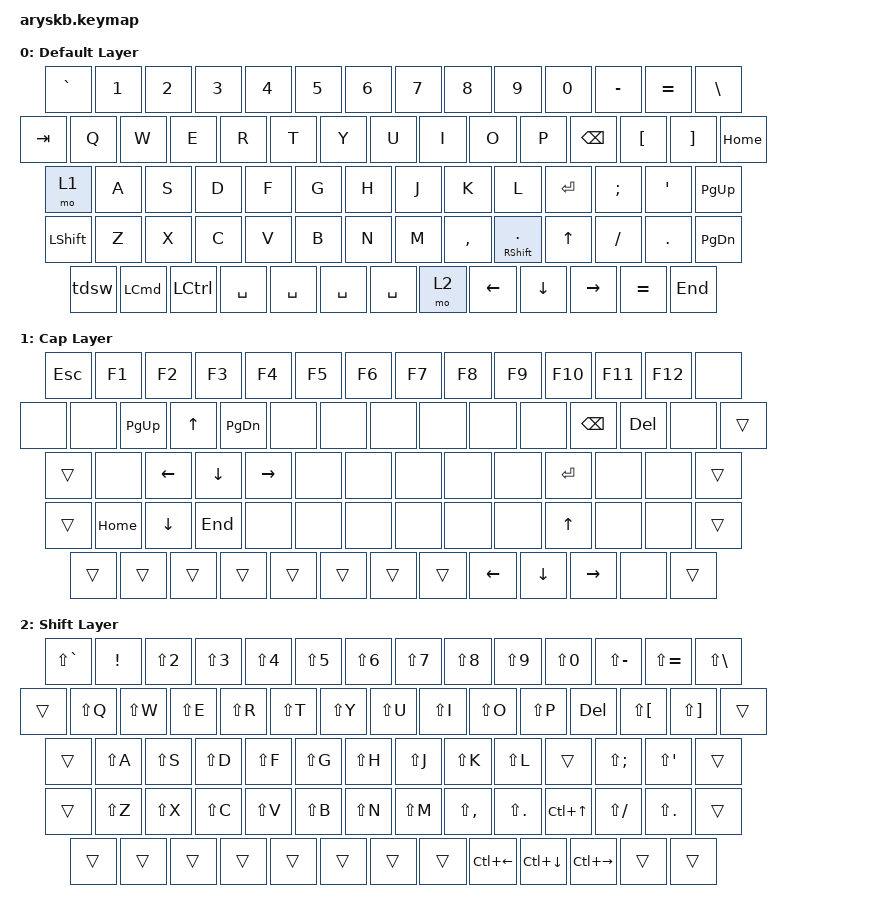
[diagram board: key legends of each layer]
/*
 * Copyright (c) 2021 The ZMK Contributors
 *
 * SPDX-License-Identifier: MIT
 */

#include <behaviors.dtsi>
#include <dt-bindings/zmk/keys.h>
#include <dt-bindings/zmk/bt.h>
#include <dt-bindings/zmk/rgb.h>
#include <dt-bindings/zmk/outputs.h>
#include <dt-bindings/zmk/rgb.h>



/ {
        keymap {
                compatible = "zmk,keymap";

                default_layer {
                        display-name = "Default Layer";
                        bindings = <


&kp GRAVE           &kp N1          &kp N2          &kp N3          &kp N4              &kp N5          &kp N6              &kp N7          &kp N8              &kp N9          &kp N0            &kp MINUS       &kp EQUAL       &kp BSLH        
&kp TAB         &kp Q           &kp W           &kp E           &kp R           &kp T           &kp Y           &kp U           &kp I           &kp O           &kp P           &kp BSPC            &kp LBKT        &kp RBKT        &kp HOME        
&mo 1               &kp A           &kp S           &kp D           &kp F           &kp G           &kp H           &kp J           &kp K           &kp L                   &kp RET                 &kp SEMI        &kp SQT         &kp PAGE_UP     
&kp LSHFT                   &kp Z           &kp X           &kp C           &kp V           &kp B           &kp N           &kp M           &kp COMMA       &mt RSHFT DOT       &kp UP              &kp FSLH        &kp DOT         &kp PAGE_DOWN   
&tdsw               &kp LCMD            &kp LCTRL           &kp SPACE            &kp SPACE        &kp SPACE        &kp SPACE               &mo 2               &kp LEFT        &kp DOWN        &kp RIGHT           &kp EQUAL       &kp END         

                        
                        >;
                };


                cap_layer {
                        display-name = "Cap Layer";
                        bindings = <

&kp ESC             &kp F1          &kp F2          &kp F3          &kp F4              &kp F5          &kp F6              &kp F7          &kp F8              &kp F9          &kp F10             &kp F11         &kp F12         &none           
&none           &none           &kp PAGE_UP     &kp UP          &kp PAGE_DOWN   &none           &none          &none        &none          &none           &none           &kp BSPC                 &kp DEL         &none           &trans          
&trans              &none           &kp LEFT        &kp DOWN        &kp RIGHT       &none           &none           &none           &none           &none                   &kp RET                 &none           &none           &trans          
&trans                      &kp HOME        &kp DOWN        &kp END         &none           &none           &none           &none           &none           &none               &kp UP              &none           &none           &trans     
&trans              &trans              &trans              &trans                  &trans          &trans              &trans              &trans              &kp LEFT        &kp DOWN        &kp RIGHT           &none           &trans          


                        >;
                };


                shift_layer {
                        display-name = "Shift Layer";
                        bindings = <


&kp LS(GRAVE)       &kp EXCL        &kp LS(N2)      &kp LS(N3)      &kp LS(N4)          &kp LS(N5)      &kp LS(N6)          &kp LS(N7)      &kp LS(N8)          &kp LS(N9)      &kp LS(N0)          &kp LS(MINUS)   &kp LS(EQUAL)   &kp LS(BSLH)    
&trans          &kp LS(Q)       &kp LS(W)       &kp LS(E)       &kp LS(R)       &kp LS(T)       &kp LS(Y)       &kp LS(U)       &kp LS(I)       &kp LS(O)       &kp LS(P)       &kp DEL             &kp LS(LBKT)    &kp LS(RBKT)    &trans          
&trans              &kp LS(A)       &kp LS(S)       &kp LS(D)       &kp LS(F)       &kp LS(G)       &kp LS(H)       &kp LS(J)       &kp LS(K)       &kp LS(L)               &trans                  &kp LS(SEMI)    &kp LS(SQT)     &trans          
&trans                      &kp LS(Z)       &kp LS(X)       &kp LS(C)       &kp LS(V)       &kp LS(B)       &kp LS(N)       &kp LS(M)       &kp LS(COMMA)   &kp LS(DOT)         &kp LC(UP)          &kp LS(FSLH)    &kp LS(DOT)     &trans          
&trans              &trans              &trans              &trans                  &trans          &trans              &trans              &trans              &kp LC(LEFT)    &kp LC(DOWN)    &kp LC(RIGHT)       &trans          &trans          
                       
                        
                        >;
                };


        };

        behaviors {
                tdsw: tap_dance_0 {
                        compatible = "zmk,behavior-tap-dance";
                        #binding-cells = <0>;
                        tapping-term-ms = <200>;
                        bindings = <&kp LALT>, <&kp LC(SPACE)>;
                };
        };

        combos {
                compatible = "zmk,combos";
                combo_del {
                timeout-ms = <50>;
                key-positions = <25 64>;
                bindings = <&kp DEL>;
        };
    };
                
};
